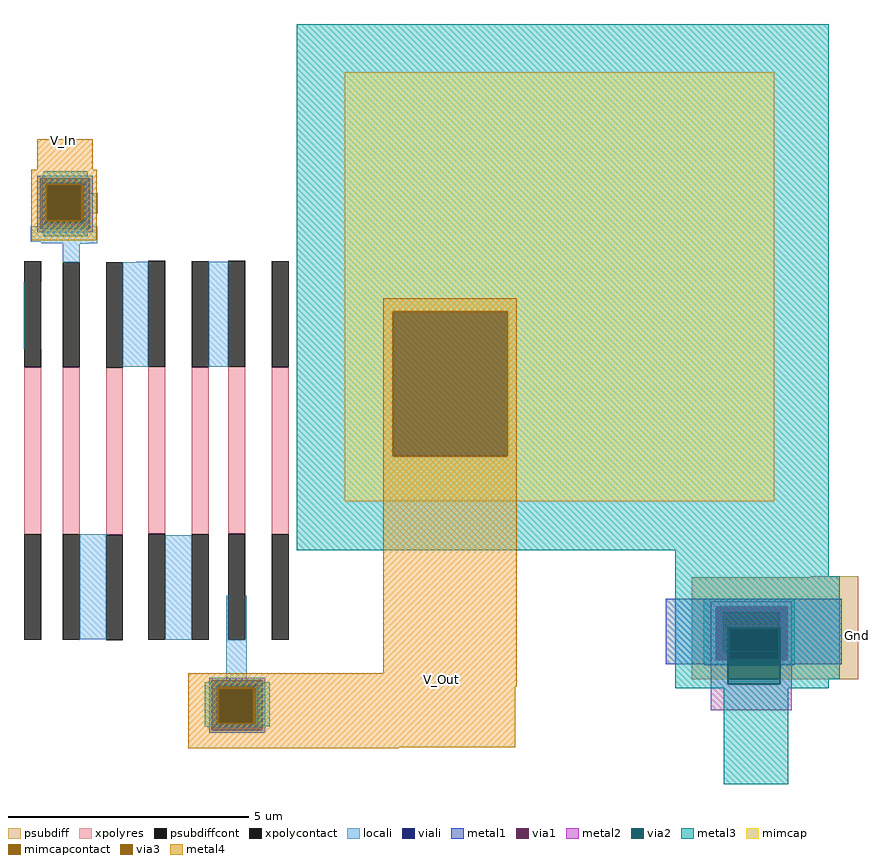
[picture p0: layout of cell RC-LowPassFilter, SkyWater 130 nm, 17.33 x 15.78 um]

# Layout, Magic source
magic
tech sky130A
<< psubdiff >>
rect 28261 13449 28361 13451
rect 28015 13377 28361 13449
rect 28015 13294 28080 13377
rect 28198 13294 28361 13377
rect 28015 13238 28361 13294
<< psubdiffcont >>
rect 28080 13294 28198 13377
<< xpolycontact >>
rect 26629 13885 26664 14105
rect 26629 13319 26664 13539
rect 26709 13885 26744 14103
rect 26709 13319 26744 13539
rect 26799 13884 26834 14103
rect 26799 13318 26834 13538
rect 26887 13886 26922 14106
rect 26887 13320 26922 13540
rect 26977 13885 27012 14105
rect 26977 13319 27012 13539
rect 27053 13886 27088 14106
rect 27053 13320 27088 13540
rect 27143 13885 27178 14105
rect 27143 13319 27178 13539
<< xpolyres >>
rect 26629 13539 26664 13885
rect 26709 13539 26744 13885
rect 26799 13538 26834 13884
rect 26887 13540 26922 13886
rect 26977 13539 27012 13885
rect 27053 13540 27088 13886
rect 27143 13539 27178 13885
<< locali >>
rect 26643 14173 26662 14178
rect 26765 14205 26782 14247
rect 26765 14173 26781 14178
rect 26643 14146 26781 14173
rect 26665 14143 26781 14146
rect 26709 14142 26763 14143
rect 26628 13924 26629 14062
rect 26709 14103 26744 14142
rect 26861 14103 26887 14104
rect 26664 13924 26665 14062
rect 26834 13886 26887 14103
rect 27012 13886 27053 14104
rect 26744 13538 26804 13539
rect 26744 13321 26799 13538
rect 26922 13320 26977 13537
rect 26919 13319 26977 13320
rect 27049 13320 27053 13411
rect 27088 13320 27091 13411
rect 27049 13235 27091 13320
rect 28040 13378 28229 13405
rect 28040 13294 28079 13378
rect 28199 13294 28229 13378
rect 28040 13269 28229 13294
<< viali >>
rect 26662 14173 26765 14278
rect 28079 13377 28199 13378
rect 28079 13294 28080 13377
rect 28080 13294 28198 13377
rect 28198 13294 28199 13377
rect 27018 13132 27123 13235
<< metal1 >>
rect 26656 14278 26771 14283
rect 26656 14173 26662 14278
rect 26765 14173 26771 14278
rect 26656 14166 26771 14173
rect 27961 13388 28327 13405
rect 27961 13278 28066 13388
rect 28213 13278 28327 13388
rect 27961 13269 28327 13278
rect 28042 13267 28228 13269
rect 27013 13235 27130 13241
rect 27013 13132 27018 13235
rect 27123 13132 27130 13235
rect 27013 13126 27130 13132
<< via1 >>
rect 26670 14182 26758 14272
rect 28066 13378 28213 13388
rect 28066 13294 28079 13378
rect 28079 13294 28199 13378
rect 28199 13294 28213 13378
rect 28066 13278 28213 13294
rect 27024 13140 27114 13228
<< metal2 >>
rect 26666 14272 26761 14275
rect 26666 14182 26670 14272
rect 26758 14182 26761 14272
rect 26666 14178 26761 14182
rect 28055 13388 28223 13399
rect 28055 13278 28066 13388
rect 28213 13278 28223 13388
rect 27021 13228 27118 13231
rect 27021 13140 27024 13228
rect 27114 13140 27118 13228
rect 28055 13227 28090 13278
rect 28199 13227 28223 13278
rect 28055 13173 28223 13227
rect 27021 13136 27118 13140
<< via2 >>
rect 26673 14185 26755 14269
rect 28090 13278 28199 13345
rect 27027 13143 27111 13225
rect 28090 13227 28199 13278
<< metal3 >>
rect 26670 14287 26761 14292
rect 26668 14269 26761 14287
rect 26668 14185 26673 14269
rect 26755 14185 26761 14269
rect 26668 14165 26761 14185
rect 26670 14157 26761 14165
rect 27195 13505 28300 14598
rect 27981 13451 28300 13505
rect 27981 13345 28322 13451
rect 27004 13225 27139 13231
rect 27004 13143 27027 13225
rect 27111 13143 27139 13225
rect 27981 13227 28090 13345
rect 28199 13238 28322 13345
rect 28199 13227 28300 13238
rect 27981 13219 28300 13227
rect 27004 13140 27139 13143
rect 27009 13138 27131 13140
rect 28082 13020 28216 13219
<< via3 >>
rect 26676 14190 26749 14264
rect 27032 13146 27106 13219
<< mimcap >>
rect 27295 14002 28186 14498
rect 27295 13700 27394 14002
rect 27633 13700 28186 14002
rect 27295 13607 28186 13700
<< mimcapcontact >>
rect 27394 13700 27633 14002
<< metal4 >>
rect 26656 14295 26771 14359
rect 26644 14264 26780 14295
rect 26644 14190 26676 14264
rect 26749 14190 26780 14264
rect 26644 14149 26780 14190
rect 27375 14002 27652 14029
rect 27375 13700 27394 14002
rect 27633 13700 27652 14002
rect 27375 13250 27652 13700
rect 26970 13222 27652 13250
rect 26970 13219 27649 13222
rect 26970 13146 27032 13219
rect 27106 13146 27649 13219
rect 26970 13096 27649 13146
rect 26970 13094 27407 13096
<< labels >>
rlabel metal4 27496 13238 27496 13238 1 V_Out
port 1 n
rlabel psubdiff 28359 13328 28359 13328 7 Gnd
rlabel metal4 26710 14356 26710 14356 1 V_In
port 4 n
<< end >>
